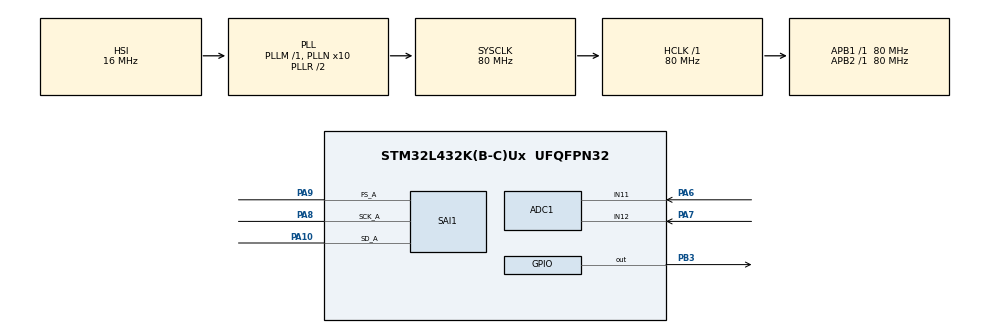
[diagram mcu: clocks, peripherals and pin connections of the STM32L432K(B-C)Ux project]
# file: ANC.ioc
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ADC1.Channel-5\#ChannelRegularConversion=ADC_CHANNEL_11
ADC1.Channel-6\#ChannelRegularConversion=ADC_CHANNEL_12
ADC1.ClockPrescaler=ADC_CLOCK_ASYNC_DIV1
ADC1.DMAContinuousRequests=ENABLE
ADC1.EOCSelection=ADC_EOC_SINGLE_CONV
ADC1.EnableInjectedConversion=DISABLE
ADC1.EnableRegularConversion=ENABLE
ADC1.ExternalTrigConv=ADC_EXTERNALTRIG_T6_TRGO
ADC1.NbrOfConversion=2
ADC1.NbrOfConversionFlag=1
ADC1.OffsetNumber-5\#ChannelRegularConversion=ADC_OFFSET_NONE
ADC1.OffsetNumber-6\#ChannelRegularConversion=ADC_OFFSET_NONE
ADC1.Rank-5\#ChannelRegularConversion=1
ADC1.Rank-6\#ChannelRegularConversion=2
ADC1.Rank1_Channel=ADC_CHANNEL_11
ADC1.Rank2_Channel=ADC_CHANNEL_12
ADC1.SamplingTime-5\#ChannelRegularConversion=ADC_SAMPLETIME_2CYCLES_5
ADC1.SamplingTime-6\#ChannelRegularConversion=ADC_SAMPLETIME_2CYCLES_5
ADC1.master=1
Dma.ADC1.0.Direction=DMA_PERIPH_TO_MEMORY
Dma.ADC1.0.Instance=DMA1_Channel1
Dma.ADC1.0.MemDataAlignment=DMA_MDATAALIGN_HALFWORD
Dma.ADC1.0.MemInc=DMA_MINC_ENABLE
Dma.ADC1.0.Mode=DMA_CIRCULAR
Dma.ADC1.0.PeriphDataAlignment=DMA_PDATAALIGN_HALFWORD
Dma.ADC1.0.PeriphInc=DMA_PINC_DISABLE
Dma.ADC1.0.Priority=DMA_PRIORITY_LOW
Dma.Request0=ADC1
Dma.Request1=SAI1_A
Dma.SAI1_A.1.Direction=DMA_MEMORY_TO_PERIPH
Dma.SAI1_A.1.Instance=DMA2_Channel1
Dma.SAI1_A.1.MemDataAlignment=DMA_MDATAALIGN_HALFWORD
Dma.SAI1_A.1.MemInc=DMA_MINC_ENABLE
Dma.SAI1_A.1.Mode=DMA_CIRCULAR
Dma.SAI1_A.1.PeriphDataAlignment=DMA_PDATAALIGN_HALFWORD
Dma.SAI1_A.1.PeriphInc=DMA_PINC_DISABLE
Dma.SAI1_A.1.Priority=DMA_PRIORITY_LOW
Mcu.Family=STM32L4
Mcu.Name=STM32L432K(B-C)Ux
Mcu.Package=UFQFPN32
NVIC.ADC1_IRQn=true\:0\:0\:false\:false\:true\:true\:true\:true
NVIC.DMA1_Channel1_IRQn=true\:0\:0\:false\:false\:true\:false\:true\:true
NVIC.DMA2_Channel1_IRQn=true\:0\:0\:false\:false\:true\:false\:true\:true
NVIC.PriorityGroup=NVIC_PRIORITYGROUP_4
NVIC.SAI1_IRQn=true\:0\:0\:false\:false\:true\:true\:true\:true
PA10.Mode=SAI_A_Master
PA10.Signal=SAI1_SD_A
PA13\ (JTMS-SWDIO).Mode=Serial_Wire
PA13\ (JTMS-SWDIO).Signal=SYS_JTMS-SWDIO
PA14\ (JTCK-SWCLK).Mode=Serial_Wire
PA14\ (JTCK-SWCLK).Signal=SYS_JTCK-SWCLK
PA6.Signal=ADCx_IN11
PA7.Signal=ADCx_IN12
PA8.Mode=SAI_A_Master
PA8.Signal=SAI1_SCK_A
PA9.Mode=SAI_A_Master
PA9.Signal=SAI1_FS_A
PB3\ (JTDO-TRACESWO).GPIO_ModeDefaultOutputPP=GPIO_MODE_OUTPUT_PP
PB3\ (JTDO-TRACESWO).GPIO_Speed=GPIO_SPEED_FREQ_HIGH
PB3\ (JTDO-TRACESWO).Signal=GPIO_Output
ProjectManager.HeapSize=0x200
ProjectManager.StackSize=0x400
ProjectManager.TargetToolchain=CMake
RCC.ADCCLockSelection=RCC_ADCCLKSOURCE_SYSCLK
RCC.ADCFreq_Value=80000000
RCC.AHBFreq_Value=80000000
RCC.APB1Freq_Value=80000000
RCC.APB1TimFreq_Value=80000000
RCC.APB2Freq_Value=80000000
RCC.APB2TimFreq_Value=80000000
RCC.CK48CLockSelection=RCC_USBCLKSOURCE_HSI48
RCC.CortexFreq_Value=80000000
RCC.HCLKFreq_Value=80000000
RCC.HSE_VALUE=8000000
RCC.HSI48_VALUE=48000000
RCC.HSI_VALUE=16000000
RCC.LSE_VALUE=32768
RCC.MSI_VALUE=4000000
RCC.PLLN=10
RCC.PLLSAI1N=10
RCC.PLLSAI1P=RCC_PLLP_DIV2
RCC.PLLSourceVirtual=RCC_PLLSOURCE_HSI
RCC.SYSCLKFreq_VALUE=80000000
RCC.SYSCLKSource=RCC_SYSCLKSOURCE_PLLCLK
RCC.USART2CLockSelection=RCC_USART2CLKSOURCE_SYSCLK
RCC.USBFreq_Value=48000000
RCC.VCOOutputFreq_Value=160000000
SAI1.AudioFrequency-SAI_A_Master=SAI_AUDIO_FREQUENCY_8K
SAI1.ErrorAudioFreq-SAI_A_Master=3.01 %
SAI1.InitProtocol-SAI_A_Master=Enable
SAI1.Instance-SAI_A_Master=SAI$Index_Block_A
SAI1.MClockEnable-SAI_A_Master=SAI_MASTERCLOCK_DISABLE
SAI1.RealAudioFreq-SAI_A_Master=8.241 KHz
SAI1.VirtualMode-SAI_A_Master=VM_MASTER
SAI1.VirtualProtocol-SAI_A_BASIC=VM_BASIC_PROTOCOL
SH.ADCx_IN11.0=ADC1_IN11,IN11-Single-Ended
SH.ADCx_IN12.0=ADC1_IN12,IN12-Single-Ended
TIM6.Period=999
TIM6.Prescaler=9
TIM6.TIM_MasterOutputTrigger=TIM_TRGO_UPDATE
VP_SAI1_VP_$IpInstance_SAIA_SAI_BASIC.Mode=SAI_A_BASIC
VP_TIM6_VS_ClockSourceINT.Mode=Enable_Timer
board=custom

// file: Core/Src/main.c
/* USER CODE BEGIN Header */
/**
 ******************************************************************************
 * @file           : main.c
 * @brief          : Main program body
 ******************************************************************************
 * @attention
 *
 * Copyright (c) 2025 STMicroelectronics.
 * All rights reserved.
 *
 * This software is licensed under terms that can be found in the LICENSE file
 * in the root directory of this software component.
 * If no LICENSE file comes with this software, it is provided AS-IS.
 *
 ******************************************************************************
 */
/* USER CODE END Header */
#include "main.h"
#include "adc.h"
#include "dma.h"
#include "gpio.h"
#include "sai.h"
#include "tim.h"

/* USER CODE BEGIN Includes */
#include <math.h>
#include <stdbool.h>
#include <stdlib.h>
#include <string.h>
#ifdef USING_USB
#include "usbd_cdc_if.h"
#endif
/* USER CODE END Includes */

/* USER CODE BEGIN PD */
/* ADC settings */
#define VREF 3.3f
#define ADC_MAX_CODE 4095.0f
#define V_BIAS 1.25f	   // MAX9814 output DC bias (V)
#define MIC_GAIN_DB 40.0f  // software-set gain of MAX9814, dB

/* Microphone capsule sensitivity (without preamp) in dBV (V per Pa =
10^(dBV/20)).
   Typical electret values: -44 dBV (~6.31 mV/Pa), -36 dBV (~15.8 mV/Pa).
   MUST be set according to the actual microphone capsule used.
*/
#define MIC_SENSITIVITY_DBV (-44.0f)

#define SAMPLE_RATE_HZ 16000u
#define FRAMES_PER_HALF 256u  // фреймов в половине буфера (~5.3мс)
#define SLOTS 2u			  // L,R

/* USER CODE END PD */

/* USER CODE BEGIN PM */
#ifdef USING_USB
#pragma pack(push, 1)
typedef struct {
	uint8_t pre0;
	uint8_t pre1;
	uint32_t cnt;
	uint16_t err;
	uint16_t ref;
} usb_pkt_t;

#pragma pack(pop)
#endif
/* USER CODE END PM */

/* USER CODE BEGIN PV */
/* ----------------- HAL handles (from MX_..._Init) ----------------- */
extern ADC_HandleTypeDef hadc1;
extern TIM_HandleTypeDef htim6;
#ifdef USING_USB
extern USBD_HandleTypeDef hUsbDeviceFS;
#endif
extern SAI_HandleTypeDef hsai_BlockA1;
/* ----------------- Globals ----------------- */
/* ADC pair ring buffer (ref, err) - power of two recommended */
/* ADC DMA Buffer */
#define ADC_BUF_LEN 2U					 // two channels scanned
volatile uint16_t adc_buf[ADC_BUF_LEN];	 // filled by DMA (make volatile)

#ifdef USING_USB
#define ADC_RING_SIZE 4096U	 // must be power of two
_Static_assert((ADC_RING_SIZE & (ADC_RING_SIZE - 1)) == 0, "ADC_RING_SIZE must be power of two");
typedef struct {
	uint16_t ref;
	uint16_t err;
} adc_pair_t;
static volatile uint32_t adc_ring_head = 0, adc_ring_tail = 0;
// static uint16_t adc_ring[ADC_RING_SIZE];
static usb_pkt_t adc_ring[ADC_RING_SIZE];
static volatile uint32_t sample_cnt = 0;
static volatile uint32_t adc_dropped = 0;
extern volatile bool usb_busy;
#else
static volatile uint16_t last_err = 0;
static volatile uint16_t last_ref = 0;
#endif

/* Transmission batch */
#define TX_BATCH_LEN 32U

/* precomputed constants */
static float mic_sens_v_per_pa;	 // S (V/Pa)
static float mic_gain_linear;	 // G

// SAI DMA buffer

static int16_t i2s_tx_buf[2];

/* USER CODE END PV */

void SystemClock_Config(void);
/* USER CODE BEGIN PFP */
#ifdef USING_USB
static inline bool adc_ring_push_isr(const adc_pair_t *p);
static void adc_ring_advance_tail(uint32_t count);
static uint32_t adc_ring_count(void);

static void usb_try_send_batch_peek(void);
#endif

/* USER CODE END PFP */

int main(void) {

	/* MCU
	 * Configuration--------------------------------------------------------*/

	/* Reset of all peripherals, Initializes the Flash interface and the
	 * Systick. */
	HAL_Init();

	/* Configure the system clock */
	SystemClock_Config();

	/* Initialize all configured peripherals */
	MX_GPIO_Init();
	MX_DMA_Init();
	MX_ADC1_Init();
	MX_TIM6_Init();
	MX_SAI1_Init();
	/* USER CODE BEGIN 2 */
	mic_sens_v_per_pa = powf(10.0f, MIC_SENSITIVITY_DBV / 20.0f);  // V/Pa at gain=0dB
	mic_gain_linear = powf(10.0f, MIC_GAIN_DB / 20.0f);

	/* Start ADC in interrupt mode if necessary; if ADC triggered by TIM,
	 * HAL_ADC_Start_IT could be used */
	HAL_ADCEx_Calibration_Start(&hadc1, ADC_SINGLE_ENDED);	// калибровка АЦП
	if (HAL_TIM_Base_Start(&htim6) != HAL_OK) {
		Error_Handler();
	}

	if (HAL_ADC_Start_DMA(&hadc1, (uint32_t *)adc_buf, ADC_BUF_LEN) != HAL_OK) {
		Error_Handler();
	}

	/* USER CODE END 2 */

	/* Infinite loop */
	while (1) {

		/* USER CODE BEGIN 3 */
		/* 2) Если USB готов — отправляем по USB. Используем
		 * peek-advance подход
		 */
		// if (hUsbDeviceFS.dev_state == USBD_STATE_CONFIGURED &&
		// !usb_busy) {
		//     usb_try_send_batch_peek();
		// }
		if (HAL_SAI_Transmit_DMA(&hsai_BlockA1, (uint8_t *)i2s_tx_buf, sizeof(i2s_tx_buf) / sizeof(uint16_t)) !=
			HAL_OK) {
			Error_Handler();
		}
	}

	/* USER CODE END 3 */
}

void SystemClock_Config(void) {
	RCC_OscInitTypeDef RCC_OscInitStruct = {0};
	RCC_ClkInitTypeDef RCC_ClkInitStruct = {0};

	/** Configure the main internal regulator output voltage
	 */
	if (HAL_PWREx_ControlVoltageScaling(PWR_REGULATOR_VOLTAGE_SCALE1) != HAL_OK) {
		Error_Handler();
	}

	/** Initializes the RCC Oscillators according to the specified
	 * parameters in the RCC_OscInitTypeDef structure.
	 */
	RCC_OscInitStruct.OscillatorType = RCC_OSCILLATORTYPE_HSI;
	RCC_OscInitStruct.HSIState = RCC_HSI_ON;
	RCC_OscInitStruct.HSICalibrationValue = RCC_HSICALIBRATION_DEFAULT;
	RCC_OscInitStruct.PLL.PLLState = RCC_PLL_ON;
	RCC_OscInitStruct.PLL.PLLSource = RCC_PLLSOURCE_HSI;
	RCC_OscInitStruct.PLL.PLLM = 1;
	RCC_OscInitStruct.PLL.PLLN = 10;
	RCC_OscInitStruct.PLL.PLLP = RCC_PLLP_DIV7;
	RCC_OscInitStruct.PLL.PLLQ = RCC_PLLQ_DIV2;
	RCC_OscInitStruct.PLL.PLLR = RCC_PLLR_DIV2;
	if (HAL_RCC_OscConfig(&RCC_OscInitStruct) != HAL_OK) {
		Error_Handler();
	}

	/** Initializes the CPU, AHB and APB buses clocks
	 */
	RCC_ClkInitStruct.ClockType = RCC_CLOCKTYPE_HCLK | RCC_CLOCKTYPE_SYSCLK | RCC_CLOCKTYPE_PCLK1 | RCC_CLOCKTYPE_PCLK2;
	RCC_ClkInitStruct.SYSCLKSource = RCC_SYSCLKSOURCE_PLLCLK;
	RCC_ClkInitStruct.AHBCLKDivider = RCC_SYSCLK_DIV1;
	RCC_ClkInitStruct.APB1CLKDivider = RCC_HCLK_DIV1;
	RCC_ClkInitStruct.APB2CLKDivider = RCC_HCLK_DIV1;

	if (HAL_RCC_ClockConfig(&RCC_ClkInitStruct, FLASH_LATENCY_4) != HAL_OK) {
		Error_Handler();
	}
}

/* USER CODE BEGIN 4 */
void HAL_ADC_ConvHalfCpltCallback(ADC_HandleTypeDef *hadc) { (void)hadc; }

void HAL_ADC_ConvCpltCallback(ADC_HandleTypeDef *hadc) {
	(void)hadc;
	/* fast: read both ADC values and push into adc_ring */
	/*
	RANK_1 = PA6 = CH11 = err = green
	RANK_2 = PA7 = CH12 = ref = yellow
  */
#ifdef USING_USB
	adc_pair_t p;
	p.ref = adc_buf[0];	 // rank1
	p.err = adc_buf[1];	 // rank2
	// ISR-safe push
	(void)adc_ring_push_isr(&p);
	HAL_GPIO_TogglePin(GPIOB, GPIO_PIN_3);
#else
	last_err = adc_buf[0];
#endif
}

#ifdef USING_USB
/* ----------------- processing ----------------- */
/* ----------------- Ring helpers ----------------- */
/* ADC ring push (ISR-safe, fast) */
static inline bool adc_ring_push_isr(const adc_pair_t *p) {
	uint32_t head = adc_ring_head;
	uint32_t next = (head + 1) & (ADC_RING_SIZE - 1);
	uint32_t tail = adc_ring_tail;	// tail может меняться в main, но чтение
									// здесь "best-effort"
	++sample_cnt;
	if (next == tail) {
		// кольцо полно — отбрасываем пакет (не перезаписываем)
		adc_dropped++;
		return false;
	}
	adc_ring[head].pre0 = 0xAA;
	adc_ring[head].pre1 = 0x55;
	adc_ring[head].cnt = sample_cnt;
	adc_ring[head].err = p->err;
	adc_ring[head].ref = p->ref;
	// publish
	__asm__ volatile("" ::: "memory");	// небольшая баррикада
	adc_ring_head = next;
	return true;
}

/* ADC ring pop (main) */
static inline bool adc_ring_peek_at(uint32_t offset, usb_pkt_t *out) {
	if (offset >= adc_ring_count())
		return false;
	uint32_t pos = (adc_ring_tail + offset) & (ADC_RING_SIZE - 1);
	*out = adc_ring[pos];
	return true;
}

static inline void adc_ring_advance_tail(uint32_t count) {
	__disable_irq();
	adc_ring_tail = (adc_ring_tail + count) & (ADC_RING_SIZE - 1);
	__enable_irq();
}

static inline uint32_t adc_ring_count(void) {
	uint32_t tail = 0, head = 0;
	__disable_irq();
	tail = adc_ring_tail;
	head = adc_ring_head;
	__enable_irq();
	return (head - tail) & (ADC_RING_SIZE - 1);
}

static void usb_try_send_batch_peek(void) {
	uint32_t avail = adc_ring_count();
	if (hUsbDeviceFS.dev_state != USBD_STATE_CONFIGURED || usb_busy || avail < TX_BATCH_LEN || avail == 0)
		return;

	uint32_t to_send = (avail > TX_BATCH_LEN) ? TX_BATCH_LEN : avail;

	static usb_pkt_t sendbuf[TX_BATCH_LEN];

	/* peek items into sendbuf without modifying tail */
	for (uint32_t i = 0; i < to_send; ++i) {
		if (!adc_ring_peek_at(i, &sendbuf[i])) {
			to_send = i;
			break;
		}
	}
	if (to_send == 0)
		return;

	uint8_t ret = CDC_Transmit_FS((uint8_t *)sendbuf, (uint16_t)(to_send * sizeof(usb_pkt_t)));
	if (ret == USBD_OK) {
		adc_ring_advance_tail(to_send);
		usb_busy = true;
	} else if (ret == USBD_BUSY) {
		/* НЕ трогаем кольцо — попробуем позже. */
	} else {
		/* Ошибка — не теряем пакеты: просто попробуем позже. */
	}
}
#endif
/* USER CODE END 4 */

void Error_Handler(void) {
	/* USER CODE BEGIN Error_Handler_Debug */
	/* User can add his own implementation to report the HAL error return
	 * state
	 */
	__disable_irq();
	while (1) {
	}
	/* USER CODE END Error_Handler_Debug */
}
#ifdef USE_FULL_ASSERT
/**
 * @brief  Reports the name of the source file and the source line number
 *         where the assert_param error has occurred.
 * @param  file: pointer to the source file name
 * @param  line: assert_param error line source number
 * @retval None
 */
void assert_failed(uint8_t *file, uint32_t line) {
	/* USER CODE BEGIN 6 */
	/* User can add his own implementation to report the file name and line
	   number, ex: printf("Wrong parameters value: file %s on line %d\r\n",
	   file, line) */
	/* USER CODE END 6 */
}
#endif /* USE_FULL_ASSERT */
